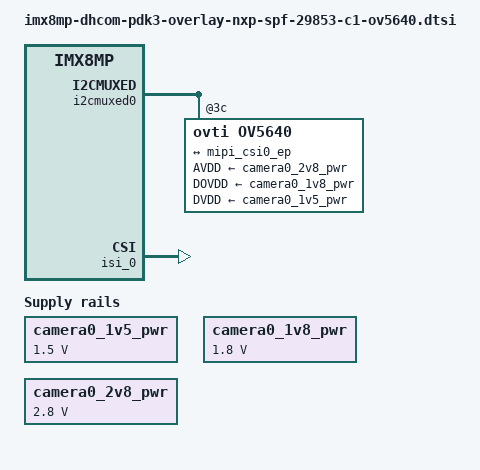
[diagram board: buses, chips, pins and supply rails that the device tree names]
// SPDX-License-Identifier: (GPL-2.0+ OR BSD-3-Clause)
/*
 * Copyright (C) 2023-2026 Marek Vasut
 */

#include <dt-bindings/clock/imx8mp-clock.h>
#include <dt-bindings/gpio/gpio.h>

&{/} {
	camera0_1v5_pwr: regulator-camera0-1v5 {
		compatible = "regulator-fixed";
		regulator-name = "camera0-1v5-reg";
		regulator-min-microvolt = <1500000>;
		regulator-max-microvolt = <1500000>;
		regulator-always-on;
	};

	camera0_1v8_pwr: regulator-camera0-1v8 {
		compatible = "regulator-fixed";
		regulator-name = "camera0-1v8-reg";
		regulator-min-microvolt = <1800000>;
		regulator-max-microvolt = <1800000>;
		regulator-always-on;
	};

	camera0_2v8_pwr: regulator-camera0-2v8 {
		compatible = "regulator-fixed";
		regulator-name = "camera0-2v8-reg";
		regulator-min-microvolt = <2800000>;
		regulator-max-microvolt = <2800000>;
		regulator-always-on;
	};
};

&i2cmuxed0 {
	#address-cells = <1>;
	#size-cells = <0>;

	ov5640: camera@3c {
		compatible = "ovti,ov5640";
		reg = <0x3c>;
		clocks = <&clk IMX8MP_CLK_CLKOUT1>;
		clock-names = "xclk";
		assigned-clocks = <&clk IMX8MP_CLK_CLKOUT1_SEL>,
				  <&clk IMX8MP_CLK_CLKOUT1>;
		assigned-clock-parents = <&clk IMX8MP_CLK_24M>;
		assigned-clock-rates = <24000000>, <24000000>;
		AVDD-supply = <&camera0_2v8_pwr>;
		DOVDD-supply = <&camera0_1v8_pwr>;
		DVDD-supply = <&camera0_1v5_pwr>;

		port {
			ov5640_to_mipi_csi2: endpoint {
				remote-endpoint = <&mipi_csi0_ep>;
				clock-lanes = <0>;
				data-lanes = <1 2>;
			};
		};
	};
};

&isi_0 {
	status = "okay";
};
